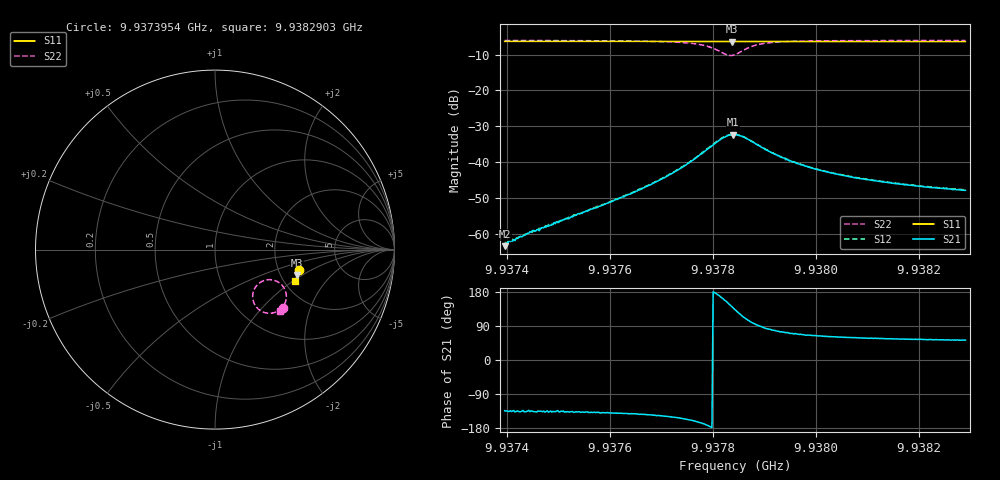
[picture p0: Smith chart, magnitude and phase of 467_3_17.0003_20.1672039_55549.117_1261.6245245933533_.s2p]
#  HZ  S  RI  R  50.00
! Rohde & Schwarz Vector Network Analyzer
! Rohde-Schwarz,ZNB20-2Port,1311601062101988,3.16
! Created: UTC 3/20/2024, 11:13:01 PM
! freq[Hz]  re:S11  im:S11  re:S21  im:S21  re:S12  im:S12  re:S22  im:S22
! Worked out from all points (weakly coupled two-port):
!   401 points, 9.9373954 GHz to 9.9382903 GHz, reference 50 ohm
!   highest |S21| = -32.33 dB at 9.9378384 GHz (marker M1); lowest = -63.5 dB at 9.9373954 GHz (marker M2)
!   lowest |S11| = -6.4 dB at 9.9378361 GHz (marker M3), VSWR 2.84, Z = 122 - j45.1 ohm
!   |S11| at or under -10 dB: nowhere
!   |S22| runs from -10.3 to -6.1 dB; largest |S21 - S12| = 0.001
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9.93739541e9  0.4694 -0.1146  -0.000463 -0.000484  -0.00056 -0.000494  0.378 -0.3231
9.93740436e9  0.4692 -0.1154  -0.00057 -0.000554  -0.000609 -0.000545  0.3772 -0.3238
9.93744686e9  0.4682 -0.1184  -0.00073 -0.000755  -0.000781 -0.000721  0.3735 -0.3271
9.93746029e9  0.4679 -0.1192  -0.0008 -0.000811  -0.000842 -0.000789  0.3722 -0.3281
9.9375453e9  0.466 -0.1248  -0.00142 -0.00131  -0.00145 -0.00131  0.3624 -0.3357
9.93764373e9  0.4637 -0.1315  -0.00291 -0.00229  -0.00302 -0.00228  0.3448 -0.3458
9.93769519e9  0.4623 -0.135  -0.00463 -0.00306  -0.00479 -0.00304  0.3279 -0.3522
9.93774441e9  0.4608 -0.1383  -0.008 -0.0037  -0.00823 -0.00366  0.2977 -0.355
9.93778468e9  0.4592 -0.1409  -0.014 -0.00254  -0.0144 -0.00217  0.2501 -0.3383
9.937816e9  0.4575 -0.1423  -0.0203 0.00533  -0.0206 0.00585  0.2101 -0.2692
9.93782718e9  0.457 -0.1424  -0.0206 0.0105  -0.0206 0.0113  0.2162 -0.2269
9.93783613e9  0.4569 -0.1422  -0.0189 0.0149  -0.0186 0.0159  0.2367 -0.1952
9.93783837e9  0.457 -0.1423  -0.0182 0.016  -0.0178 0.0167  0.2439 -0.1885
9.93784284e9  0.4569 -0.1424  -0.0163 0.0178  -0.0162 0.0184  0.2597 -0.1782
9.93785403e9  0.4571 -0.1427  -0.0114 0.0201  -0.0108 0.0208  0.3029 -0.1671
9.93786969e9  0.4576 -0.1435  -0.00493 0.0199  -0.00433 0.0202  0.3518 -0.1806
9.93789653e9  0.4577 -0.1456  0.000996 0.0157  0.00133 0.0159  0.3894 -0.2227
9.93794575e9  0.457 -0.1493  0.00323 0.0102  0.00374 0.0101  0.3972 -0.2721
9.93799273e9  0.4557 -0.1528  0.00349 0.00744  0.0037 0.00747  0.3919 -0.2954
9.93805761e9  0.4541 -0.1571  0.00322 0.00553  0.00339 0.00554  0.3836 -0.3128
9.93814262e9  0.4518 -0.1625  0.00288 0.00427  0.00296 0.00428  0.3747 -0.3261
9.93829028e9  0.4477 -0.1722  0.00245 0.0032  0.00256 0.00319  0.3624 -0.3404
